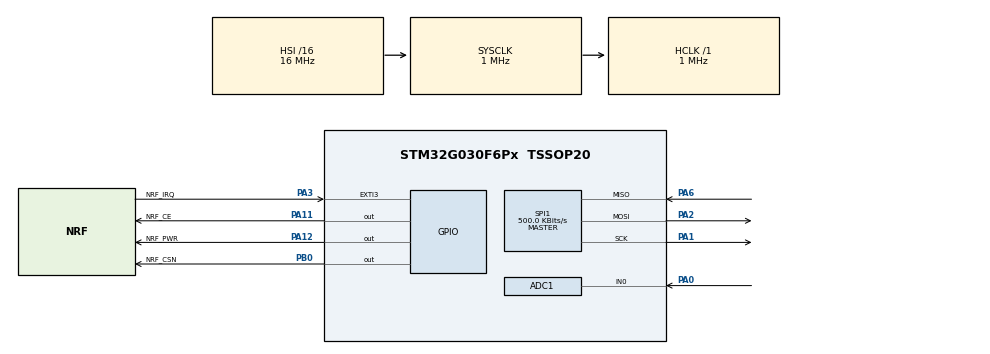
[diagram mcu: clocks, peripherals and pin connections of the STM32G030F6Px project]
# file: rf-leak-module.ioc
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ADC1.Channel-0\#ChannelRegularConversion=ADC_CHANNEL_0
ADC1.Channel-1\#ChannelRegularConversion=ADC_CHANNEL_VREFINT
ADC1.DiscontinuousConvMode=DISABLE
ADC1.NbrOfConversion=2
ADC1.NbrOfConversionFlag=1
ADC1.Rank-0\#ChannelRegularConversion=1
ADC1.Rank-1\#ChannelRegularConversion=2
ADC1.SamplingTime-0\#ChannelRegularConversion=ADC_SAMPLINGTIME_COMMON_1
ADC1.SamplingTime-1\#ChannelRegularConversion=ADC_SAMPLINGTIME_COMMON_1
ADC1.SamplingTimeCommon1=ADC_SAMPLETIME_39CYCLES_5
ADC1.SamplingTimeCommon2=ADC_SAMPLETIME_39CYCLES_5
ADC1.SelectedChannel=ADC_CHANNEL_0|ADC_CHANNEL_VREFINT
ADC1.master=1
Dma.ADC1.0.Direction=DMA_PERIPH_TO_MEMORY
Dma.ADC1.0.EventEnable=DISABLE
Dma.ADC1.0.Instance=DMA1_Channel1
Dma.ADC1.0.MemDataAlignment=DMA_MDATAALIGN_HALFWORD
Dma.ADC1.0.MemInc=DMA_MINC_ENABLE
Dma.ADC1.0.Mode=DMA_NORMAL
Dma.ADC1.0.PeriphDataAlignment=DMA_PDATAALIGN_HALFWORD
Dma.ADC1.0.PeriphInc=DMA_PINC_DISABLE
Dma.ADC1.0.Polarity=HAL_DMAMUX_REQ_GEN_RISING
Dma.ADC1.0.Priority=DMA_PRIORITY_LOW
Dma.ADC1.0.RequestNumber=1
Dma.ADC1.0.SignalID=NONE
Dma.ADC1.0.SyncEnable=DISABLE
Dma.ADC1.0.SyncPolarity=HAL_DMAMUX_SYNC_NO_EVENT
Dma.ADC1.0.SyncRequestNumber=1
Dma.ADC1.0.SyncSignalID=NONE
Dma.Request0=ADC1
Mcu.Family=STM32G0
Mcu.Name=STM32G030F6Px
Mcu.Package=TSSOP20
NVIC.DMA1_Channel1_IRQn=true\:0\:0\:false\:false\:true\:false\:true\:true
NVIC.RTC_TAMP_IRQn=true\:0\:0\:false\:false\:true\:true\:true\:true
PA0.Mode=IN0
PA0.Signal=ADC1_IN0
PA1.Mode=Full_Duplex_Master
PA1.Signal=SPI1_SCK
PA11\ [PA9].GPIO_Label=NRF_CE
PA11\ [PA9].Signal=GPIO_Output
PA12\ [PA10].GPIO_Label=NRF_PWR
PA12\ [PA10].Signal=GPIO_Output
PA13.Mode=Serial_Wire
PA13.Signal=SYS_SWDIO
PA14-BOOT0.Mode=Serial_Wire
PA14-BOOT0.Signal=SYS_SWCLK
PA14-BOOT0__PA15.StandardMode=true
PA2.Mode=Full_Duplex_Master
PA2.Signal=SPI1_MOSI
PA3.GPIO_Label=NRF_IRQ
PA3.Signal=GPXTI3
PA6.Mode=Full_Duplex_Master
PA6.Signal=SPI1_MISO
PB0.GPIO_Label=NRF_CSN
PB0.Signal=GPIO_Output
PB0__PB1__PB2__PA8.StandardMode=true
PB3__PB4__PB5__PB6.StandardMode=true
PB7__PB8.StandardMode=true
PC14-OSC32_IN\ (PC14)__PB9.StandardMode=true
ProjectManager.HeapSize=0x200
ProjectManager.StackSize=0x400
ProjectManager.TargetToolchain=STM32CubeIDE
RCC.ADCCLockSelection=RCC_ADCCLKSOURCE_HSI
RCC.ADCFreq_Value=16000000
RCC.AHBFreq_Value=1000000
RCC.CortexFreq_Value=1000000
RCC.EXTERNAL_CLOCK_VALUE=12288000
RCC.HCLKFreq_Value=1000000
RCC.HSE_VALUE=8000000
RCC.HSISYSCLKDivider=RCC_HSI_DIV16
RCC.HSI_VALUE=16000000
RCC.LSE_VALUE=32768
RCC.PLLM=RCC_PLLM_DIV2
RCC.PLLR=RCC_PLLR_DIV8
RCC.SYSCLKFreq_VALUE=1000000
RCC.VCOOutputFreq_Value=64000000
RTC.Alarm-Alarm\ A=RTC_ALARM_A
RTC.AlarmMaskDateWeekDay-Alarm\ A=RTC_ALARMMASK_DATEWEEKDAY
RTC.AlarmMaskHours-Alarm\ A=RTC_ALARMMASK_HOURS
RTC.Minutes_A-Alarm\ A=1
RTC.SynchPrediv=249
SPI1.BaudRatePrescaler=SPI_BAUDRATEPRESCALER_2
SPI1.CalculateBaudRate=500.0 KBits/s
SPI1.Direction=SPI_DIRECTION_2LINES
SPI1.Mode=SPI_MODE_MASTER
SPI1.NSSPMode=SPI_NSS_PULSE_DISABLE
SPI1.VirtualType=VM_MASTER
VP_ADC1_Vref_Input.Mode=IN-Vrefint
VP_RTC_VS_RTC_Activate.Mode=RTC_Enabled
VP_RTC_VS_RTC_Alarm_A_Intern.Mode=Alarm A
VP_RTC_VS_RTC_Calendar.Mode=RTC_Calendar
board=custom

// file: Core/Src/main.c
/* USER CODE BEGIN Header */
/**
 ******************************************************************************
 * @file           : main.c
 * @brief          : Main program body
 ******************************************************************************
 * @attention
 *
 * Copyright (c) 2022 STMicroelectronics.
 * All rights reserved.
 *
 * This software is licensed under terms that can be found in the LICENSE file
 * in the root directory of this software component.
 * If no LICENSE file comes with this software, it is provided AS-IS.
 *
 ******************************************************************************
 */
/* USER CODE END Header */
#include "main.h"
#include "adc.h"
#include "dma.h"
#include "rtc.h"
#include "spi.h"
#include "gpio.h"

/* USER CODE BEGIN Includes */
#include "nrf24l01.h"
/* USER CODE END Includes */

/* USER CODE BEGIN PV */
static uint8_t *Unique_ID = (uint8_t *)UID_BASE;
static uint16_t *vrefint_cal = (uint16_t *)VREFINT_CAL_ADDR;

uint16_t up_count = 0;
volatile uint16_t adc[2] = {
	0,
};

uint16_t water = 0;
uint16_t voltage = 0;

uint8_t nrf_data[32] = {
	0,
};

volatile uint8_t flag = 0;

//        === NRF Setup ===
//        const uint64_t pipe0 = 0x7878787878LL;
const uint64_t pipe1 = 0xF0F0F0F0A1LL;
//        const uint64_t pipe2 = 0xF0F0F0F0B1LL;
//        const uint64_t pipe3 = 0xF0F0F0F0C1LL;
//        const uint64_t pipe4 = 0xF0F0F0F0D1LL;
//        const uint64_t pipe5 = 0xF0F0F0F0E1LL;

/* USER CODE END PV */

void SystemClock_Config(void);
/* USER CODE BEGIN PFP */
void NRF_Prepare(void);
/* USER CODE END PFP */

int main(void)
{

	/* MCU Configuration--------------------------------------------------------*/

	/* Reset of all peripherals, Initializes the Flash interface and the Systick. */
	HAL_Init();

	/* Configure the system clock */
	SystemClock_Config();

	/* Initialize all configured peripherals */
	MX_GPIO_Init();
	MX_DMA_Init();
	MX_ADC1_Init();
	MX_RTC_Init();
	MX_SPI1_Init();
	/* USER CODE BEGIN 2 */

	// Clear standby flag
	__HAL_PWR_CLEAR_FLAG(PWR_FLAG_WUF);

	// Read from backup register up count
	up_count = HAL_RTCEx_BKUPRead(&hrtc, RTC_BKP_DR0);

	// ADC
	HAL_ADCEx_Calibration_Start(&hadc1);
	HAL_ADC_Start_DMA(&hadc1, (uint32_t *)&adc, 2);

	// Wait DMA
	while (!flag)
	{
	}

	water = adc[0];
	voltage = VREFINT_CAL_VREF * (*vrefint_cal) / adc[1];

	// Send a status every 360 min
	if (up_count == 0 || up_count >= 360)
	{
		NRF_Prepare();

		write(&nrf_data, 32);
		up_count = 1;
	}

	// Send a notification if the humidity level is above the permissible level
	if (water > 1000)
	{
		NRF_Prepare();

		for (uint8_t i = 0; i < 5; i++)
		{
			write(&nrf_data, 32);
			HAL_Delay(1000);
		}
	}

	up_count++;
	HAL_PWR_EnableBkUpAccess();
	HAL_RTCEx_BKUPWrite(&hrtc, RTC_BKP_DR0, up_count);

	/* USER CODE END 2 */

	/* Infinite loop */
	/* USER CODE BEGIN WHILE */
	while (1)
	{
		HAL_PWR_EnterSTANDBYMode();

		/* USER CODE END WHILE */

	}
}

void SystemClock_Config(void)
{
	RCC_OscInitTypeDef RCC_OscInitStruct = {0};
	RCC_ClkInitTypeDef RCC_ClkInitStruct = {0};

	/** Configure the main internal regulator output voltage
	 */
	HAL_PWREx_ControlVoltageScaling(PWR_REGULATOR_VOLTAGE_SCALE1);

	/** Initializes the RCC Oscillators according to the specified parameters
	 * in the RCC_OscInitTypeDef structure.
	 */
	RCC_OscInitStruct.OscillatorType = RCC_OSCILLATORTYPE_HSI | RCC_OSCILLATORTYPE_LSI;
	RCC_OscInitStruct.HSIState = RCC_HSI_ON;
	RCC_OscInitStruct.HSIDiv = RCC_HSI_DIV16;
	RCC_OscInitStruct.HSICalibrationValue = RCC_HSICALIBRATION_DEFAULT;
	RCC_OscInitStruct.LSIState = RCC_LSI_ON;
	RCC_OscInitStruct.PLL.PLLState = RCC_PLL_NONE;
	if (HAL_RCC_OscConfig(&RCC_OscInitStruct) != HAL_OK)
	{
		Error_Handler();
	}

	/** Initializes the CPU, AHB and APB buses clocks
	 */
	RCC_ClkInitStruct.ClockType = RCC_CLOCKTYPE_HCLK | RCC_CLOCKTYPE_SYSCLK | RCC_CLOCKTYPE_PCLK1;
	RCC_ClkInitStruct.SYSCLKSource = RCC_SYSCLKSOURCE_HSI;
	RCC_ClkInitStruct.AHBCLKDivider = RCC_SYSCLK_DIV1;
	RCC_ClkInitStruct.APB1CLKDivider = RCC_HCLK_DIV1;

	if (HAL_RCC_ClockConfig(&RCC_ClkInitStruct, FLASH_LATENCY_0) != HAL_OK)
	{
		Error_Handler();
	}
}

/* USER CODE BEGIN 4 */
void HAL_ADC_ConvCpltCallback(ADC_HandleTypeDef *hadc)
{
	if (hadc->Instance == ADC1)
	{
		HAL_ADC_Stop_DMA(&hadc1);
		HAL_ADC_Stop(&hadc1);
		flag = 1;
	}
}

void NRF_Prepare(void)
{
	HAL_GPIO_WritePin(NRF_PWR_GPIO_Port, NRF_PWR_Pin, GPIO_PIN_SET);
	while (!isChipConnected())
		;
	NRF_Init();
	setDataRate(RF24_250KBPS);
	setChannel(76);
	openWritingPipe(pipe1);
	maskIRQ(true, true, true);

	// Add message
	memcpy(nrf_data, Unique_ID, 12);
	nrf_data[12] = water >> 8;
	nrf_data[13] = water & 0xff;
	nrf_data[14] = voltage >> 8;
	nrf_data[15] = voltage & 0xff;
}
/* USER CODE END 4 */

void Error_Handler(void)
{
	__disable_irq();
	while (1)
	{
	}
}
